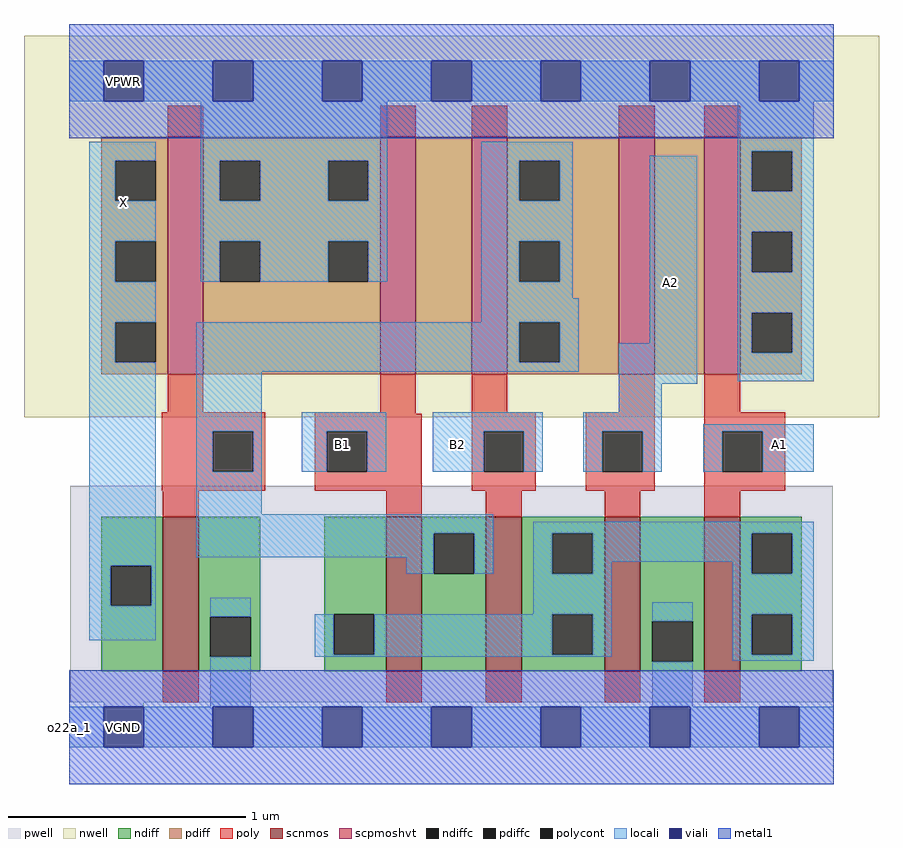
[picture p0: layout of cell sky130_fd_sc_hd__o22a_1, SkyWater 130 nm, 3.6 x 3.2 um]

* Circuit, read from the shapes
.subckt sky130_fd_sc_hd__o22a_1 VGND VPWR VPB VNB B2 A2 A1 B1 X
XM1 VGND n1 X VNB sky130_fd_pr__nfet_01v8 w=0.65 l=0.15
XM2 n1 B1 n2 VNB sky130_fd_pr__nfet_01v8 w=0.65 l=0.15
XM3 n2 B2 n1 VNB sky130_fd_pr__nfet_01v8 w=0.65 l=0.15
XM4 VGND A2 n2 VNB sky130_fd_pr__nfet_01v8 w=0.65 l=0.15
XM5 n2 A1 VGND VNB sky130_fd_pr__nfet_01v8 w=0.65 l=0.15
XM6 VPWR n1 X VPB sky130_fd_pr__pfet_01v8_hvt w=1 l=0.15
XM7 n3 B1 VPWR VPB sky130_fd_pr__pfet_01v8_hvt w=1 l=0.15
XM8 n1 B2 n3 VPB sky130_fd_pr__pfet_01v8_hvt w=1 l=0.15
XM9 n4 A2 n1 VPB sky130_fd_pr__pfet_01v8_hvt w=1 l=0.15
XM10 VPWR A1 n4 VPB sky130_fd_pr__pfet_01v8_hvt w=1 l=0.15
.ends

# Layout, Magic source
magic
tech sky130B
magscale 1 2
<< nwell >>
rect -38 221 682 542
<< pwell >>
rect 1 -19 643 163
rect 29 -57 63 -19
<< scnmos >>
rect 79 7 109 137
rect 267 7 297 137
rect 351 7 381 137
rect 451 7 481 137
rect 535 7 565 137
<< scpmoshvt >>
rect 83 257 113 457
rect 262 257 292 457
rect 339 257 369 457
rect 463 257 493 457
rect 535 257 565 457
<< ndiff >>
rect 27 96 79 137
rect 27 62 35 96
rect 69 62 79 96
rect 27 7 79 62
rect 109 53 161 137
rect 109 19 119 53
rect 153 19 161 53
rect 109 7 161 19
rect 215 55 267 137
rect 215 21 223 55
rect 257 21 267 55
rect 215 7 267 21
rect 297 123 351 137
rect 297 89 307 123
rect 341 89 351 123
rect 297 7 351 89
rect 381 123 451 137
rect 381 89 407 123
rect 441 89 451 123
rect 381 55 451 89
rect 381 21 407 55
rect 441 21 451 55
rect 381 7 451 21
rect 481 49 535 137
rect 481 15 491 49
rect 525 15 535 49
rect 481 7 535 15
rect 565 123 617 137
rect 565 89 575 123
rect 609 89 617 123
rect 565 55 617 89
rect 565 21 575 55
rect 609 21 617 55
rect 565 7 617 21
<< pdiff >>
rect 27 437 83 457
rect 27 403 39 437
rect 73 403 83 437
rect 27 369 83 403
rect 27 335 39 369
rect 73 335 83 369
rect 27 301 83 335
rect 27 267 39 301
rect 73 267 83 301
rect 27 257 83 267
rect 113 437 262 457
rect 113 403 127 437
rect 161 403 218 437
rect 252 403 262 437
rect 113 369 262 403
rect 113 335 127 369
rect 161 335 218 369
rect 252 335 262 369
rect 113 257 262 335
rect 292 257 339 457
rect 369 437 463 457
rect 369 403 379 437
rect 413 403 463 437
rect 369 369 463 403
rect 369 335 379 369
rect 413 335 463 369
rect 369 301 463 335
rect 369 267 379 301
rect 413 267 463 301
rect 369 257 463 267
rect 493 257 535 457
rect 565 445 617 457
rect 565 411 575 445
rect 609 411 617 445
rect 565 377 617 411
rect 565 343 575 377
rect 609 343 617 377
rect 565 309 617 343
rect 565 275 575 309
rect 609 275 617 309
rect 565 257 617 275
<< ndiffc >>
rect 35 62 69 96
rect 119 19 153 53
rect 223 21 257 55
rect 307 89 341 123
rect 407 89 441 123
rect 407 21 441 55
rect 491 15 525 49
rect 575 89 609 123
rect 575 21 609 55
<< pdiffc >>
rect 39 403 73 437
rect 39 335 73 369
rect 39 267 73 301
rect 127 403 161 437
rect 218 403 252 437
rect 127 335 161 369
rect 218 335 252 369
rect 379 403 413 437
rect 379 335 413 369
rect 379 267 413 301
rect 575 411 609 445
rect 575 343 609 377
rect 575 275 609 309
<< poly >>
rect 83 457 113 483
rect 262 457 292 483
rect 339 457 369 483
rect 463 457 493 483
rect 535 457 565 483
rect 83 225 113 257
rect 262 225 292 257
rect 78 209 165 225
rect 78 175 121 209
rect 155 175 165 209
rect 78 159 165 175
rect 207 224 292 225
rect 339 225 369 257
rect 463 225 493 257
rect 207 209 297 224
rect 207 175 217 209
rect 251 175 297 209
rect 207 159 297 175
rect 339 209 393 225
rect 339 175 349 209
rect 383 175 393 209
rect 339 159 393 175
rect 435 209 493 225
rect 435 175 449 209
rect 483 175 493 209
rect 435 159 493 175
rect 535 225 565 257
rect 535 209 603 225
rect 535 175 550 209
rect 584 175 603 209
rect 535 159 603 175
rect 79 137 109 159
rect 267 137 297 159
rect 351 137 381 159
rect 451 137 481 159
rect 535 137 565 159
rect 79 -19 109 7
rect 267 -19 297 7
rect 351 -19 381 7
rect 451 -19 481 7
rect 535 -19 565 7
<< polycont >>
rect 121 175 155 209
rect 217 175 251 209
rect 349 175 383 209
rect 449 175 483 209
rect 550 175 584 209
<< locali >>
rect 0 487 29 521
rect 63 487 121 521
rect 155 487 213 521
rect 247 487 305 521
rect 339 487 397 521
rect 431 487 489 521
rect 523 487 581 521
rect 615 487 644 521
rect 17 437 73 453
rect 17 403 39 437
rect 17 369 73 403
rect 17 335 39 369
rect 111 437 268 487
rect 111 403 127 437
rect 161 403 218 437
rect 252 403 268 437
rect 111 369 268 403
rect 111 335 127 369
rect 161 335 218 369
rect 252 335 268 369
rect 347 437 424 453
rect 563 445 627 487
rect 347 403 379 437
rect 413 403 424 437
rect 347 369 424 403
rect 347 335 379 369
rect 413 335 424 369
rect 17 301 73 335
rect 347 321 424 335
rect 347 301 429 321
rect 17 267 39 301
rect 17 96 73 267
rect 107 267 379 301
rect 413 267 429 301
rect 489 283 529 441
rect 107 259 429 267
rect 107 209 162 259
rect 463 249 529 283
rect 563 411 575 445
rect 609 411 627 445
rect 563 377 627 411
rect 563 343 575 377
rect 609 343 627 377
rect 563 309 627 343
rect 563 275 575 309
rect 609 275 627 309
rect 563 251 627 275
rect 463 225 499 249
rect 107 175 121 209
rect 155 175 162 209
rect 196 209 267 225
rect 196 175 217 209
rect 251 175 267 209
rect 306 209 399 225
rect 306 175 349 209
rect 383 175 399 209
rect 433 209 499 225
rect 433 175 449 209
rect 483 175 499 209
rect 534 209 627 215
rect 534 175 550 209
rect 584 175 627 209
rect 107 139 162 175
rect 107 123 357 139
rect 107 103 307 123
rect 17 62 35 96
rect 69 62 73 96
rect 284 89 307 103
rect 341 89 357 123
rect 391 123 627 133
rect 391 89 407 123
rect 441 99 575 123
rect 441 89 457 99
rect 17 33 73 62
rect 119 53 153 69
rect 391 55 457 89
rect 559 89 575 99
rect 609 89 627 123
rect 207 21 223 55
rect 257 21 407 55
rect 441 21 457 55
rect 207 19 457 21
rect 491 49 525 65
rect 119 -23 153 19
rect 559 55 627 89
rect 559 21 575 55
rect 609 21 627 55
rect 559 16 627 21
rect 491 -23 525 15
rect 0 -57 29 -23
rect 63 -57 121 -23
rect 155 -57 213 -23
rect 247 -57 305 -23
rect 339 -57 397 -23
rect 431 -57 489 -23
rect 523 -57 581 -23
rect 615 -57 644 -23
<< viali >>
rect 29 487 63 521
rect 121 487 155 521
rect 213 487 247 521
rect 305 487 339 521
rect 397 487 431 521
rect 489 487 523 521
rect 581 487 615 521
rect 29 -57 63 -23
rect 121 -57 155 -23
rect 213 -57 247 -23
rect 305 -57 339 -23
rect 397 -57 431 -23
rect 489 -57 523 -23
rect 581 -57 615 -23
<< metal1 >>
rect 0 521 644 552
rect 0 487 29 521
rect 63 487 121 521
rect 155 487 213 521
rect 247 487 305 521
rect 339 487 397 521
rect 431 487 489 521
rect 523 487 581 521
rect 615 487 644 521
rect 0 456 644 487
rect 0 -23 644 8
rect 0 -57 29 -23
rect 63 -57 121 -23
rect 155 -57 213 -23
rect 247 -57 305 -23
rect 339 -57 397 -23
rect 431 -57 489 -23
rect 523 -57 581 -23
rect 615 -57 644 -23
rect 0 -88 644 -57
<< labels >>
rlabel comment s 0 -40 0 -40 4 o22a_1
flabel metal1 s 29 -57 63 -23 0 FreeSans 200 0 0 0 VGND
port 2 nsew
flabel metal1 s 29 487 63 521 0 FreeSans 200 0 0 0 VPWR
port 3 nsew
flabel nwell s 29 487 63 521 0 FreeSans 200 0 0 0 VPB
port 5 nsew
flabel pwell s 29 -57 63 -23 0 FreeSans 200 0 0 0 VNB
port 6 nsew
flabel locali s 489 317 523 351 0 FreeSans 400 0 0 0 A2
port 8 nsew
flabel locali s 29 385 63 419 0 FreeSans 400 0 0 0 X
port 11 nsew
flabel locali s 213 181 247 215 0 FreeSans 400 0 0 0 B1
port 10 nsew
flabel locali s 581 181 615 215 0 FreeSans 400 0 0 0 A1
port 9 nsew
flabel locali s 310 181 344 215 0 FreeSans 400 0 0 0 B2
port 7 nsew
<< properties >>
string FIXED_BBOX 0 -40 644 504
string path 0.000 -1.000 16.100 -1.000 
<< end >>
